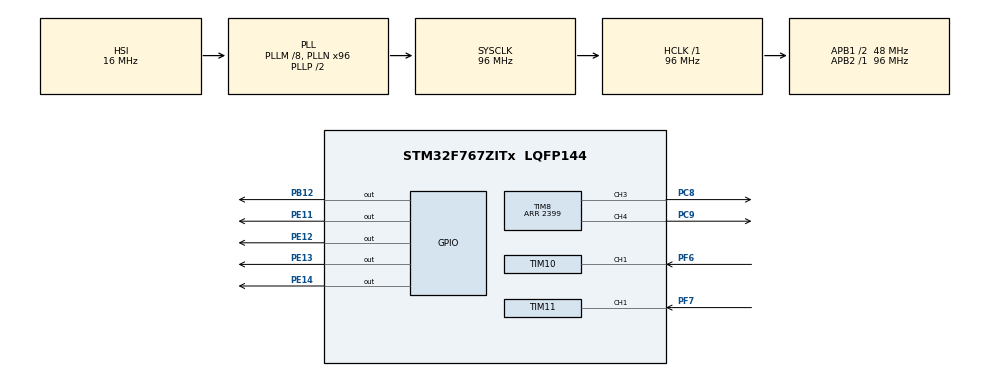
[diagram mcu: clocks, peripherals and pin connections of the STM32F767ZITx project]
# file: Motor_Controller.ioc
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CORTEX_M7.default_mode_Activation=1
Mcu.Family=STM32F7
Mcu.Name=STM32F767ZITx
Mcu.Package=LQFP144
NVIC.PriorityGroup=NVIC_PRIORITYGROUP_4
NVIC.TIM1_BRK_TIM9_IRQn=true\:1\:0\:true\:false\:true\:true\:true\:true
NVIC.TIM1_TRG_COM_TIM11_IRQn=true\:0\:0\:false\:false\:true\:true\:true\:true
NVIC.TIM1_UP_TIM10_IRQn=true\:0\:0\:false\:false\:true\:true\:true\:true
PA13.Mode=Serial_Wire
PA13.Signal=SYS_JTMS-SWDIO
PA14.Mode=Serial_Wire
PA14.Signal=SYS_JTCK-SWCLK
PB12.Signal=GPIO_Output
PC8.Signal=S_TIM8_CH3
PC9.Signal=S_TIM8_CH4
PE11.Signal=GPIO_Output
PE12.Signal=GPIO_Output
PE13.Signal=GPIO_Output
PE14.Signal=GPIO_Output
PF6.Signal=S_TIM10_CH1
PF7.Signal=S_TIM11_CH1
ProjectManager.HeapSize=0x200
ProjectManager.StackSize=0x400
ProjectManager.TargetToolchain=STM32CubeIDE
RCC.AHBFreq_Value=96000000
RCC.APB1CLKDivider=RCC_HCLK_DIV2
RCC.APB1Freq_Value=48000000
RCC.APB1TimFreq_Value=96000000
RCC.APB2Freq_Value=96000000
RCC.APB2TimFreq_Value=96000000
RCC.CortexFreq_Value=96000000
RCC.HCLKFreq_Value=96000000
RCC.HSE_VALUE=25000000
RCC.HSI_VALUE=16000000
RCC.LSE_VALUE=32768
RCC.PLLM=8
RCC.PLLN=96
RCC.SYSCLKFreq_VALUE=96000000
RCC.SYSCLKSource=RCC_SYSCLKSOURCE_PLLCLK
RCC.USBFreq_Value=96000000
RCC.VCOOutputFreq_Value=192000000
SH.S_TIM10_CH1.0=TIM10_CH1,Input_Capture1_from_TI1
SH.S_TIM11_CH1.0=TIM11_CH1,Input_Capture1_from_TI1
SH.S_TIM8_CH3.0=TIM8_CH3,PWM Generation3 CH3
SH.S_TIM8_CH4.0=TIM8_CH4,PWM Generation4 CH4
TIM10.Channel=TIM_CHANNEL_1
TIM10.Period=59999
TIM10.Prescaler=15
TIM11.Channel=TIM_CHANNEL_1
TIM11.Period=59999
TIM11.Prescaler=15
TIM8.Channel-PWM\ Generation3\ CH3=TIM_CHANNEL_3
TIM8.Channel-PWM\ Generation4\ CH4=TIM_CHANNEL_4
TIM8.Period=2399
TIM9.Period=62499
TIM9.Prescaler=383
VP_TIM10_VS_ClockSourceINT.Mode=Enable_Timer
VP_TIM11_VS_ClockSourceINT.Mode=Enable_Timer
VP_TIM9_VS_ClockSourceINT.Mode=Internal
board=custom

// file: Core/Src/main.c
/* USER CODE BEGIN Header */
/**
  ******************************************************************************
  * @file           : main.c
  * @brief          : Main program body
  ******************************************************************************
  * @attention
  *
  * Copyright (c) 2025 STMicroelectronics.
  * All rights reserved.
  *
  * This software is licensed under terms that can be found in the LICENSE file
  * in the root directory of this software component.
  * If no LICENSE file comes with this software, it is provided AS-IS.
  *
  ******************************************************************************
  */
/* USER CODE END Header */
#include "main.h"

/* USER CODE BEGIN Includes */
#include <math.h>

/* USER CODE END Includes */

TIM_HandleTypeDef htim8;
TIM_HandleTypeDef htim9;
TIM_HandleTypeDef htim10;
TIM_HandleTypeDef htim11;

/* USER CODE BEGIN PV */
#define LEFT_IC htim11
#define LEFT_IC_CHANNEL TIM_CHANNEL_1
#define LEFT_PWM htim8
#define LEFT_PWM_CHANNEL TIM_CHANNEL_4
#define LEFT_FORWARD GPIOE
#define LEFT_FORWARD_PIN GPIO_PIN_14
#define LEFT_REVERSE GPIOE
#define LEFT_REVERSE_PIN GPIO_PIN_13

#define RIGHT_IC htim10
#define RIGHT_IC_CHANNEL TIM_CHANNEL_1
#define RIGHT_PWM htim8
#define RIGHT_PWM_CHANNEL TIM_CHANNEL_3
#define RIGHT_FORWARD GPIOE
#define RIGHT_FORWARD_PIN GPIO_PIN_11
#define RIGHT_REVERSE GPIOE
#define RIGHT_REVERSE_PIN GPIO_PIN_12

/* USER CODE END PV */

void SystemClock_Config(void);
static void MPU_Config(void);
static void MX_GPIO_Init(void);
static void MX_TIM11_Init(void);
static void MX_TIM10_Init(void);
static void MX_TIM8_Init(void);
static void MX_TIM9_Init(void);
/* USER CODE BEGIN PFP */
void TIM_Start_IC(TIM_HandleTypeDef *htim);
void TIM_Stop_IC(TIM_HandleTypeDef *htim);
void Start_Diff_PWM(void);
void w_calc(void);
void HAL_TIM_IC_CaptureCallback(TIM_HandleTypeDef *htim);
void poll_speed(TIM_HandleTypeDef *htim);
void motors_controller(float speed_r, float speed_l);

/* USER CODE END PFP */

/* USER CODE BEGIN 0 */
#define error_t 10
#define pwm_period 2399
#define ic_period 59999

uint16_t counter_buffer[4] = {0,0,0,0};
uint8_t w_time[3] = {0,0,'\n'};
uint8_t re_count = 0;
int is_sent = 0;
uint8_t poll_motor = 0;
float time_ms = 0;
//facing direction. 0 - forward, 1 - right, 2 - left, 3 - back
int facing = 0;
int tide_angle = 0;

int tim9_counter = 0;
int ic_overrun = 0;

void TIM_Start_IC(TIM_HandleTypeDef *htim) {
    HAL_TIM_IC_Start_IT(htim, TIM_CHANNEL_1);
}

void TIM_Stop_IC(TIM_HandleTypeDef *htim) {
	HAL_TIM_IC_Stop_IT(htim, TIM_CHANNEL_1);
}

void TIM10_Stop_IC(void) {
	HAL_TIM_IC_Stop_IT(&htim10, TIM_CHANNEL_1);
}

void reset_tim9(void) {
	TIM9 -> ARR = 0;
	TIM9 -> CR1 &= ~TIM_CR1_UDIS;
	TIM9 -> EGR = TIM_EGR_UG;
	TIM9 -> CR1 |= TIM_CR1_UDIS;
}

void Start_Diff_PWM(void) {
	HAL_TIM_PWM_Start(&htim8, TIM_CHANNEL_3);
	__HAL_TIM_SET_COMPARE(&htim8, TIM_CHANNEL_3, 0);
	HAL_TIM_PWM_Start(&htim8, TIM_CHANNEL_4);
	__HAL_TIM_SET_COMPARE(&htim8, TIM_CHANNEL_4, 0);
}

//takes forward displacement and the angle that it needs to be at
void move(float x, float angle) {
	while(angle != tide_angle) {
		int angle_diff = angle - tide_angle;
		//assume within tolerance, not enough time in project to do otherwise
		//if angle difference is positive, turn right
		//if angle difference is negative, turn left
		if(angle_diff < 0) {
			while(angle_diff < error_t) {
				motors_controller(1, -1);
				angle_diff = angle - tide_angle;
			}
		}
		else if(angle_diff > 0) {
			while(angle_diff > error_t) {
				motors_controller(-1, 1);
				angle_diff = angle - tide_angle;
			}
		}
	}
	//calculated equation. assume x is in 6 inch intervals
	if(x == 1) {
		motors_controller(1,1);
		HAL_TIM_Base_Start_IT(&htim9);
		TIM9 -> CR1 |= 0b1;
		//wait for timer to overrun the 4.25 second period
		while(!ic_overrun);
		motors_controller(0,0);
		//HAL_TIM_Base_Stop_IT(&htim9);
		//reset_tim9();
		//TIM9 -> ARR = 0;
		TIM9 -> CNT = 0;
		ic_overrun = 0;
		tim9_counter = 0;
	}
}

void motors_controller(float on_r, float on_l) {
	if(on_r == 1) {
		HAL_GPIO_WritePin(RIGHT_REVERSE, RIGHT_REVERSE_PIN, GPIO_PIN_RESET);
		HAL_GPIO_WritePin(RIGHT_FORWARD, RIGHT_FORWARD_PIN, GPIO_PIN_SET);
		__HAL_TIM_SET_COMPARE(&RIGHT_PWM, RIGHT_PWM_CHANNEL, 0.8 * pwm_period);
	}
	else if(on_r == -1) {
		HAL_GPIO_WritePin(RIGHT_FORWARD, RIGHT_FORWARD_PIN, GPIO_PIN_RESET);
		HAL_GPIO_WritePin(RIGHT_REVERSE, RIGHT_REVERSE_PIN, GPIO_PIN_SET);
		__HAL_TIM_SET_COMPARE(&RIGHT_PWM, RIGHT_PWM_CHANNEL, 0.8 * pwm_period);
	}
	else {
		__HAL_TIM_SET_COMPARE(&RIGHT_PWM, RIGHT_PWM_CHANNEL, 0);
		HAL_GPIO_WritePin(RIGHT_FORWARD, RIGHT_FORWARD_PIN, GPIO_PIN_RESET);
		HAL_GPIO_WritePin(RIGHT_REVERSE, RIGHT_REVERSE_PIN, GPIO_PIN_RESET);
	}

	if(on_l == 1) {
		HAL_GPIO_WritePin(LEFT_REVERSE, LEFT_REVERSE_PIN, GPIO_PIN_RESET);
		HAL_GPIO_WritePin(LEFT_FORWARD, LEFT_FORWARD_PIN, GPIO_PIN_SET);
		__HAL_TIM_SET_COMPARE(&LEFT_PWM, LEFT_PWM_CHANNEL, 0.778 * pwm_period);
	}
	else if(on_l == -1) {
		HAL_GPIO_WritePin(LEFT_FORWARD, LEFT_FORWARD_PIN, GPIO_PIN_RESET);
		HAL_GPIO_WritePin(LEFT_REVERSE, LEFT_REVERSE_PIN, GPIO_PIN_SET);
		__HAL_TIM_SET_COMPARE(&LEFT_PWM, LEFT_PWM_CHANNEL, 0.778 * pwm_period);
	}
	else {
		__HAL_TIM_SET_COMPARE(&LEFT_PWM, LEFT_PWM_CHANNEL, 0);
		HAL_GPIO_WritePin(LEFT_FORWARD, LEFT_FORWARD_PIN, GPIO_PIN_RESET);
		HAL_GPIO_WritePin(LEFT_REVERSE, LEFT_REVERSE_PIN, GPIO_PIN_RESET);
	}
}

//poll motor speed
void poll_speed(TIM_HandleTypeDef *htim) {
	//start IC for motor. reset count
	/*__HAL_TIM_CLEAR_IT(htim ,TIM_IT_UPDATE);
	__HAL_TIM_SET_COUNTER(htim, 0);
	TIM_Start_IC(htim);
	//wait for poll to complete. Set in motor controller and IC ISR. w will update in IC isr
	//volatile uint32_t current = htim->Instance->CNT;
	//volatile uint32_t last = 0;
	//HAL_TIM_Base_Start_IT(&htim9);
	while(poll_motor == 0) {
		if(ic_overrun == 1){
			HAL_TIM_Base_Stop_IT(&htim9);
			poll_motor = 1;
			w = 0;
		}
	}
	HAL_TIM_Base_Stop_IT(&htim9);
	TIM9 -> ARR = 0;
	TIM9 -> CR1 &= ~TIM_CR1_UDIS;
	TIM9 -> EGR = TIM_EGR_UG;
	TIM9 -> CR1 |= TIM_CR1_UDIS;
	ic_overrun = 0;
	poll_motor = 0;
	TIM_Stop_IC(htim);*/
}

void HAL_TIM_IC_CaptureCallback(TIM_HandleTypeDef *htim) {
	/*if(htim->Channel == HAL_TIM_ACTIVE_CHANNEL_1) {
		//add count value of each interrupt to the counter buffer
		counter_buffer[re_count] = HAL_TIM_ReadCapturedValue(htim, TIM_CHANNEL_1);
		//htim->Instance->CNT = 0;
		re_count++;
		//when there are 4 high signals, calculate and transmit the speed
		if(re_count == 4) {
			TIM_Stop_IC(htim);
			w_calc();
			poll_motor = 1;
		    re_count = 0;
		    //reset timer
		    __HAL_TIM_SET_COUNTER(htim, 0);
		    TIM9 -> ARR = 0;
		    TIM9 -> CR1 &= ~TIM_CR1_UDIS;
		    TIM9 -> EGR = TIM_EGR_UG;
		    TIM9 -> CR1 |= TIM_CR1_UDIS;
		    //HAL_UART_Transmit_DMA(&huart4, transmit_start, 6);
		    }
		}*/
}

void HAL_TIM_PeriodElapsedCallback(TIM_HandleTypeDef *htim) {
	if(htim->Instance == htim9.Instance){
		__HAL_TIM_CLEAR_IT(htim, TIM_IT_UPDATE);
		tim9_counter++;
		if(tim9_counter >= 17){
			ic_overrun = 1;
			TIM9 -> CR1 &= ~0b1;
		}
	}
}

void w_calc(void) {
	/*//timer period is 10ms
	//calculate time difference between each
	uint16_t tim01;
	if (counter_buffer[1] > counter_buffer[0]) {
		tim01 = counter_buffer[1] - counter_buffer[0];
	}

	else if (counter_buffer[0] > counter_buffer[1]) {
		tim01 = (0xEA5F - counter_buffer[0]) + counter_buffer[1];
	}
	uint16_t tim12;
	if (counter_buffer[2] > counter_buffer[1]) {
		tim12 = counter_buffer[2] - counter_buffer[1];
	}

	else if (counter_buffer[1] > counter_buffer[2]) {
		tim12 = (0xEA5F - counter_buffer[1]) + counter_buffer[2];
	}
	uint16_t tim23;
	if (counter_buffer[3] > counter_buffer[2]) {
		tim23 = counter_buffer[3] - counter_buffer[2];
	}

	else if (counter_buffer[2] > counter_buffer[3]) {
		tim23 = (0xEA5F - counter_buffer[2]) + counter_buffer[3];
	}
	uint16_t tim34;
	if (counter_buffer[4] > counter_buffer[3]) {
		tim34 = counter_buffer[4] - counter_buffer[3];
	}

	else if (counter_buffer[3] > counter_buffer[4]) {
		tim34 = (0xEA5F - counter_buffer[3]) + counter_buffer[4];
	}

	time_ms = ((float)(tim34 + tim23 + tim12 + tim01) / 59999) *10;
	w = 1/(0.001*time_ms);
	//convert time_s to uint_8
	if(time_ms < 0) {
		w_time[1] = 0;
	}
	//if over 40ms, timer didn't capture full period
	else if(time_ms > 40) {
		w_time[1] = 0xFF;
	}
	else
	{
		w_time[1] = (uint8_t)((time_ms / 40) * (float)(0xFF));
	}
	//convert w to uint_8
	if(w < 0) {
		w_time[0] = 0;
	}
	else if(w > 1000) {
		w_time[0] = 0xFF;
	}
	else
	{
		w_time[0] = (uint8_t)((w / 1000) * (float)(0xFF));
	}*/
}

/* USER CODE END 0 */

int main(void)
{

  /* USER CODE BEGIN 1 */
	/* Enable I-Cache---------------------------------------------------------*/
  SCB_EnableICache();

	  /* Enable D-Cache---------------------------------------------------------*/
  SCB_EnableDCache();/* Enable I-Cache---------------------------------------------------------*/

  /* USER CODE END 1 */

  /* MPU Configuration--------------------------------------------------------*/
  MPU_Config();

  /* MCU Configuration--------------------------------------------------------*/

  /* Reset of all peripherals, Initializes the Flash interface and the Systick. */
  HAL_Init();

  /* Configure the system clock */
  SystemClock_Config();

  /* Initialize all configured peripherals */
  MX_GPIO_Init();
  MX_TIM11_Init();
  MX_TIM10_Init();
  MX_TIM8_Init();
  MX_TIM9_Init();
  /* USER CODE BEGIN 2 */
  //uint16_t duty_cycle1 = 333;
  //uint16_t duty_cycle2 = 500;
  //TIM10_Start_IC();
  Start_Diff_PWM();
  HAL_GPIO_TogglePin(GPIOB, GPIO_PIN_12);

  //poll_speed(&htim10);
  //poll_speed(&htim11);

  /* USER CODE END 2 */

  /* Infinite loop */
  while (1)
  {

    /* USER CODE BEGIN 3 */
	  move(1, 0);
	  HAL_GPIO_TogglePin(GPIOB, GPIO_PIN_12);
	  //poll_speed(&htim10);
	  HAL_Delay(500);
  }
  /* USER CODE END 3 */
}

void SystemClock_Config(void)
{
  RCC_OscInitTypeDef RCC_OscInitStruct = {0};
  RCC_ClkInitTypeDef RCC_ClkInitStruct = {0};

  /** Configure the main internal regulator output voltage
  */
  __HAL_RCC_PWR_CLK_ENABLE();
  __HAL_PWR_VOLTAGESCALING_CONFIG(PWR_REGULATOR_VOLTAGE_SCALE3);

  /** Initializes the RCC Oscillators according to the specified parameters
  * in the RCC_OscInitTypeDef structure.
  */
  RCC_OscInitStruct.OscillatorType = RCC_OSCILLATORTYPE_HSI;
  RCC_OscInitStruct.HSIState = RCC_HSI_ON;
  RCC_OscInitStruct.HSICalibrationValue = RCC_HSICALIBRATION_DEFAULT;
  RCC_OscInitStruct.PLL.PLLState = RCC_PLL_ON;
  RCC_OscInitStruct.PLL.PLLSource = RCC_PLLSOURCE_HSI;
  RCC_OscInitStruct.PLL.PLLM = 8;
  RCC_OscInitStruct.PLL.PLLN = 96;
  RCC_OscInitStruct.PLL.PLLP = RCC_PLLP_DIV2;
  RCC_OscInitStruct.PLL.PLLQ = 2;
  RCC_OscInitStruct.PLL.PLLR = 2;
  if (HAL_RCC_OscConfig(&RCC_OscInitStruct) != HAL_OK)
  {
    Error_Handler();
  }

  /** Activate the Over-Drive mode
  */
  if (HAL_PWREx_EnableOverDrive() != HAL_OK)
  {
    Error_Handler();
  }

  /** Initializes the CPU, AHB and APB buses clocks
  */
  RCC_ClkInitStruct.ClockType = RCC_CLOCKTYPE_HCLK|RCC_CLOCKTYPE_SYSCLK
                              |RCC_CLOCKTYPE_PCLK1|RCC_CLOCKTYPE_PCLK2;
  RCC_ClkInitStruct.SYSCLKSource = RCC_SYSCLKSOURCE_PLLCLK;
  RCC_ClkInitStruct.AHBCLKDivider = RCC_SYSCLK_DIV1;
  RCC_ClkInitStruct.APB1CLKDivider = RCC_HCLK_DIV2;
  RCC_ClkInitStruct.APB2CLKDivider = RCC_HCLK_DIV1;

  if (HAL_RCC_ClockConfig(&RCC_ClkInitStruct, FLASH_LATENCY_3) != HAL_OK)
  {
    Error_Handler();
  }
  HAL_RCC_MCOConfig(RCC_MCO1, RCC_MCO1SOURCE_HSI, RCC_MCODIV_1);
}

static void MX_TIM8_Init(void)
{

  TIM_MasterConfigTypeDef sMasterConfig = {0};
  TIM_OC_InitTypeDef sConfigOC = {0};
  TIM_BreakDeadTimeConfigTypeDef sBreakDeadTimeConfig = {0};

  htim8.Instance = TIM8;
  htim8.Init.Prescaler = 0;
  htim8.Init.CounterMode = TIM_COUNTERMODE_UP;
  htim8.Init.Period = 2399;
  htim8.Init.ClockDivision = TIM_CLOCKDIVISION_DIV1;
  htim8.Init.RepetitionCounter = 0;
  htim8.Init.AutoReloadPreload = TIM_AUTORELOAD_PRELOAD_DISABLE;
  if (HAL_TIM_PWM_Init(&htim8) != HAL_OK)
  {
    Error_Handler();
  }
  sMasterConfig.MasterOutputTrigger = TIM_TRGO_RESET;
  sMasterConfig.MasterOutputTrigger2 = TIM_TRGO2_RESET;
  sMasterConfig.MasterSlaveMode = TIM_MASTERSLAVEMODE_DISABLE;
  if (HAL_TIMEx_MasterConfigSynchronization(&htim8, &sMasterConfig) != HAL_OK)
  {
    Error_Handler();
  }
  sConfigOC.OCMode = TIM_OCMODE_PWM1;
  sConfigOC.Pulse = 0;
  sConfigOC.OCPolarity = TIM_OCPOLARITY_HIGH;
  sConfigOC.OCNPolarity = TIM_OCNPOLARITY_HIGH;
  sConfigOC.OCFastMode = TIM_OCFAST_DISABLE;
  sConfigOC.OCIdleState = TIM_OCIDLESTATE_RESET;
  sConfigOC.OCNIdleState = TIM_OCNIDLESTATE_RESET;
  if (HAL_TIM_PWM_ConfigChannel(&htim8, &sConfigOC, TIM_CHANNEL_3) != HAL_OK)
  {
    Error_Handler();
  }
  if (HAL_TIM_PWM_ConfigChannel(&htim8, &sConfigOC, TIM_CHANNEL_4) != HAL_OK)
  {
    Error_Handler();
  }
  sBreakDeadTimeConfig.OffStateRunMode = TIM_OSSR_DISABLE;
  sBreakDeadTimeConfig.OffStateIDLEMode = TIM_OSSI_DISABLE;
  sBreakDeadTimeConfig.LockLevel = TIM_LOCKLEVEL_OFF;
  sBreakDeadTimeConfig.DeadTime = 0;
  sBreakDeadTimeConfig.BreakState = TIM_BREAK_DISABLE;
  sBreakDeadTimeConfig.BreakPolarity = TIM_BREAKPOLARITY_HIGH;
  sBreakDeadTimeConfig.BreakFilter = 0;
  sBreakDeadTimeConfig.Break2State = TIM_BREAK2_DISABLE;
  sBreakDeadTimeConfig.Break2Polarity = TIM_BREAK2POLARITY_HIGH;
  sBreakDeadTimeConfig.Break2Filter = 0;
  sBreakDeadTimeConfig.AutomaticOutput = TIM_AUTOMATICOUTPUT_DISABLE;
  if (HAL_TIMEx_ConfigBreakDeadTime(&htim8, &sBreakDeadTimeConfig) != HAL_OK)
  {
    Error_Handler();
  }
  HAL_TIM_MspPostInit(&htim8);

}

static void MX_TIM9_Init(void)
{

  TIM_ClockConfigTypeDef sClockSourceConfig = {0};

  htim9.Instance = TIM9;
  htim9.Init.Prescaler = 383;
  htim9.Init.CounterMode = TIM_COUNTERMODE_UP;
  htim9.Init.Period = 62499;
  htim9.Init.ClockDivision = TIM_CLOCKDIVISION_DIV1;
  htim9.Init.AutoReloadPreload = TIM_AUTORELOAD_PRELOAD_DISABLE;
  if (HAL_TIM_Base_Init(&htim9) != HAL_OK)
  {
    Error_Handler();
  }
  sClockSourceConfig.ClockSource = TIM_CLOCKSOURCE_INTERNAL;
  if (HAL_TIM_ConfigClockSource(&htim9, &sClockSourceConfig) != HAL_OK)
  {
    Error_Handler();
  }

}

static void MX_TIM10_Init(void)
{

  TIM_IC_InitTypeDef sConfigIC = {0};

  htim10.Instance = TIM10;
  htim10.Init.Prescaler = 15;
  htim10.Init.CounterMode = TIM_COUNTERMODE_UP;
  htim10.Init.Period = 59999;
  htim10.Init.ClockDivision = TIM_CLOCKDIVISION_DIV1;
  htim10.Init.AutoReloadPreload = TIM_AUTORELOAD_PRELOAD_DISABLE;
  if (HAL_TIM_Base_Init(&htim10) != HAL_OK)
  {
    Error_Handler();
  }
  if (HAL_TIM_IC_Init(&htim10) != HAL_OK)
  {
    Error_Handler();
  }
  sConfigIC.ICPolarity = TIM_INPUTCHANNELPOLARITY_RISING;
  sConfigIC.ICSelection = TIM_ICSELECTION_DIRECTTI;
  sConfigIC.ICPrescaler = TIM_ICPSC_DIV1;
  sConfigIC.ICFilter = 0;
  if (HAL_TIM_IC_ConfigChannel(&htim10, &sConfigIC, TIM_CHANNEL_1) != HAL_OK)
  {
    Error_Handler();
  }

}

static void MX_TIM11_Init(void)
{

  TIM_IC_InitTypeDef sConfigIC = {0};

  htim11.Instance = TIM11;
  htim11.Init.Prescaler = 15;
  htim11.Init.CounterMode = TIM_COUNTERMODE_UP;
  htim11.Init.Period = 59999;
  htim11.Init.ClockDivision = TIM_CLOCKDIVISION_DIV1;
  htim11.Init.AutoReloadPreload = TIM_AUTORELOAD_PRELOAD_DISABLE;
  if (HAL_TIM_Base_Init(&htim11) != HAL_OK)
  {
    Error_Handler();
  }
  if (HAL_TIM_IC_Init(&htim11) != HAL_OK)
  {
    Error_Handler();
  }
  sConfigIC.ICPolarity = TIM_INPUTCHANNELPOLARITY_RISING;
  sConfigIC.ICSelection = TIM_ICSELECTION_DIRECTTI;
  sConfigIC.ICPrescaler = TIM_ICPSC_DIV1;
  sConfigIC.ICFilter = 0;
  if (HAL_TIM_IC_ConfigChannel(&htim11, &sConfigIC, TIM_CHANNEL_1) != HAL_OK)
  {
    Error_Handler();
  }

}

static void MX_GPIO_Init(void)
{
  GPIO_InitTypeDef GPIO_InitStruct = {0};

  /* GPIO Ports Clock Enable */
  __HAL_RCC_GPIOF_CLK_ENABLE();
  __HAL_RCC_GPIOE_CLK_ENABLE();
  __HAL_RCC_GPIOB_CLK_ENABLE();
  __HAL_RCC_GPIOC_CLK_ENABLE();
  __HAL_RCC_GPIOA_CLK_ENABLE();

  /*Configure GPIO pin Output Level */
  HAL_GPIO_WritePin(GPIOE, GPIO_PIN_11|GPIO_PIN_12|GPIO_PIN_13|GPIO_PIN_14, GPIO_PIN_RESET);

  /*Configure GPIO pin Output Level */
  HAL_GPIO_WritePin(GPIOB, GPIO_PIN_12, GPIO_PIN_RESET);

  /*Configure GPIO pins : PE11 PE12 PE13 PE14 */
  GPIO_InitStruct.Pin = GPIO_PIN_11|GPIO_PIN_12|GPIO_PIN_13|GPIO_PIN_14;
  GPIO_InitStruct.Mode = GPIO_MODE_OUTPUT_PP;
  GPIO_InitStruct.Pull = GPIO_NOPULL;
  GPIO_InitStruct.Speed = GPIO_SPEED_FREQ_LOW;
  HAL_GPIO_Init(GPIOE, &GPIO_InitStruct);

  /*Configure GPIO pin : PB12 */
  GPIO_InitStruct.Pin = GPIO_PIN_12;
  GPIO_InitStruct.Mode = GPIO_MODE_OUTPUT_PP;
  GPIO_InitStruct.Pull = GPIO_NOPULL;
  GPIO_InitStruct.Speed = GPIO_SPEED_FREQ_LOW;
  HAL_GPIO_Init(GPIOB, &GPIO_InitStruct);

}

 /* MPU Configuration */

void MPU_Config(void)
{
  MPU_Region_InitTypeDef MPU_InitStruct = {0};

  /* Disables the MPU */
  HAL_MPU_Disable();

  /** Initializes and configures the Region and the memory to be protected
  */
  MPU_InitStruct.Enable = MPU_REGION_ENABLE;
  MPU_InitStruct.Number = MPU_REGION_NUMBER0;
  MPU_InitStruct.BaseAddress = 0x0;
  MPU_InitStruct.Size = MPU_REGION_SIZE_4GB;
  MPU_InitStruct.SubRegionDisable = 0x87;
  MPU_InitStruct.TypeExtField = MPU_TEX_LEVEL0;
  MPU_InitStruct.AccessPermission = MPU_REGION_NO_ACCESS;
  MPU_InitStruct.DisableExec = MPU_INSTRUCTION_ACCESS_DISABLE;
  MPU_InitStruct.IsShareable = MPU_ACCESS_SHAREABLE;
  MPU_InitStruct.IsCacheable = MPU_ACCESS_NOT_CACHEABLE;
  MPU_InitStruct.IsBufferable = MPU_ACCESS_NOT_BUFFERABLE;

  HAL_MPU_ConfigRegion(&MPU_InitStruct);
  /* Enables the MPU */
  HAL_MPU_Enable(MPU_PRIVILEGED_DEFAULT);

}

void Error_Handler(void)
{
  __disable_irq();
  while (1)
  {
  }
}
